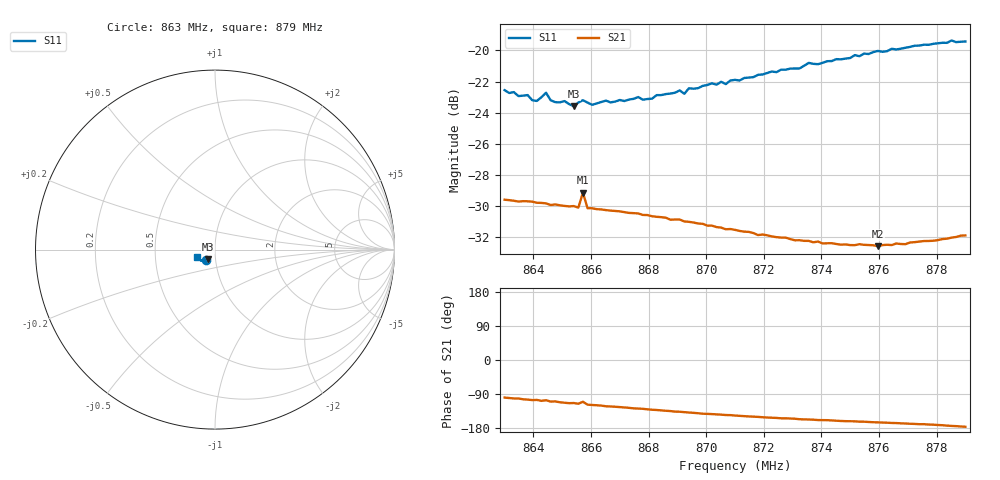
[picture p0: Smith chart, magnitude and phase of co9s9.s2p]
# HZ S RI R 50
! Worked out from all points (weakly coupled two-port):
!   101 points, 863 MHz to 879 MHz, reference 50 ohm
!   highest |S21| = -29.15 dB at 865.72 MHz (marker M1); lowest = -32.6 dB at 875.96 MHz (marker M2)
!   lowest |S11| = -23.6 dB at 865.4 MHz (marker M3), VSWR 1.14, Z = 46 - j4.92 ohm
!   |S11| at or under -10 dB: start of sweep to end of sweep
!   S12 and S22 are empty: the file has one direction only
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8.63e8  -0.0496 -0.0556  -0.00527 -0.0327  0 0  0 0
8.6348e8  -0.0463 -0.0542  -0.00654 -0.032  0 0  0 0
8.638e8  -0.0477 -0.0537  -0.0082 -0.0317  0 0  0 0
8.6412e8  -0.0428 -0.0538  -0.00858 -0.0312  0 0  0 0
8.6444e8  -0.0494 -0.0539  -0.00894 -0.031  0 0  0 0
8.646e8  -0.0437 -0.0535  -0.0108 -0.03  0 0  0 0
8.6508e8  -0.043 -0.0536  -0.0122 -0.0292  0 0  0 0
8.654e8  -0.0393 -0.0533  -0.0126 -0.029  0 0  0 0
8.6556e8  -0.0416 -0.0538  -0.0134 -0.0282  0 0  0 0
8.6572e8  -0.0324 -0.0611  -0.012 -0.0327  0 0  0 0
8.6588e8  -0.0406 -0.0545  -0.0145 -0.0275  0 0  0 0
8.6764e8  -0.0402 -0.0583  -0.0185 -0.0235  0 0  0 0
8.678e8  -0.0394 -0.0572  -0.0185 -0.0231  0 0  0 0
8.6844e8  -0.0417 -0.0585  -0.0199 -0.0213  0 0  0 0
8.6908e8  -0.0424 -0.0611  -0.0208 -0.0197  0 0  0 0
8.6924e8  -0.0414 -0.0596  -0.0208 -0.019  0 0  0 0
8.694e8  -0.0432 -0.062  -0.0211 -0.0186  0 0  0 0
8.71e8  -0.0488 -0.064  -0.0221 -0.0146  0 0  0 0
8.7372e8  -0.063 -0.065  -0.0223 -0.00925  0 0  0 0
8.7596e8  -0.0796 -0.0598  -0.0226 -0.00627  0 0  0 0
8.7644e8  -0.0837 -0.0569  -0.023 -0.00567  0 0  0 0
8.79e8  -0.0996 -0.0387  -0.0254 -0.00167  0 0  0 0
